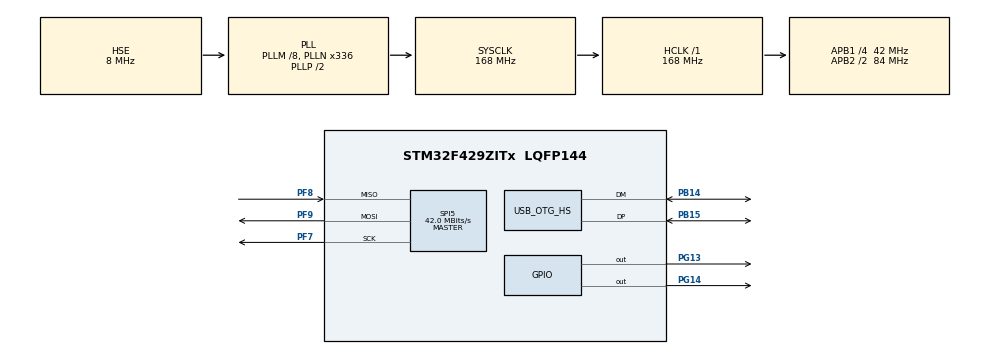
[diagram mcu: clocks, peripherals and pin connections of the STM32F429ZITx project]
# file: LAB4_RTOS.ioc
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FREERTOS.Tasks01=defaultTask,0,128,StartDefaultTask,Default,NULL,Dynamic,NULL,NULL;Task01,0,256,StartTask01,Default,NULL,Dynamic,NULL,NULL;Task02,0,128,StartTask02,Default,NULL,Dynamic,NULL,NULL
Mcu.Family=STM32F4
Mcu.Name=STM32F429ZITx
Mcu.Package=LQFP144
NVIC.OTG_HS_IRQn=true\:5\:0\:false\:false\:true\:true\:true\:true\:true
NVIC.PriorityGroup=NVIC_PRIORITYGROUP_4
NVIC.RCC_IRQn=true\:5\:0\:false\:false\:true\:true\:true\:false\:true
NVIC.SPI5_IRQn=true\:5\:0\:false\:false\:true\:true\:true\:true\:true
NVIC.TIM6_DAC_IRQn=true\:15\:0\:false\:false\:true\:false\:false\:true\:true
NVIC.TimeBase=TIM6_DAC_IRQn
NVIC.TimeBaseIP=TIM6
PA13.Mode=Serial_Wire
PA13.Signal=SYS_JTMS-SWDIO
PA14.Mode=Serial_Wire
PA14.Signal=SYS_JTCK-SWCLK
PB14.Mode=Device_Only_FS
PB14.Signal=USB_OTG_HS_DM
PB15.Mode=Device_Only_FS
PB15.Signal=USB_OTG_HS_DP
PF7.Mode=Full_Duplex_Master
PF7.Signal=SPI5_SCK
PF8.Mode=Full_Duplex_Master
PF8.Signal=SPI5_MISO
PF9.Mode=Full_Duplex_Master
PF9.Signal=SPI5_MOSI
PG13.GPIO_Speed=GPIO_SPEED_FREQ_VERY_HIGH
PG13.Signal=GPIO_Output
PG14.GPIO_Speed=GPIO_SPEED_FREQ_VERY_HIGH
PG14.Signal=GPIO_Output
PH0/OSC_IN.Mode=HSE-External-Oscillator
PH0/OSC_IN.Signal=RCC_OSC_IN
PH1/OSC_OUT.Mode=HSE-External-Oscillator
PH1/OSC_OUT.Signal=RCC_OSC_OUT
ProjectManager.HeapSize=0x2000
ProjectManager.StackSize=0x400
ProjectManager.TargetToolchain=STM32CubeIDE
RCC.48MHZClocksFreq_Value=48000000
RCC.AHBFreq_Value=168000000
RCC.APB1CLKDivider=RCC_HCLK_DIV4
RCC.APB1Freq_Value=42000000
RCC.APB1TimFreq_Value=84000000
RCC.APB2CLKDivider=RCC_HCLK_DIV2
RCC.APB2Freq_Value=84000000
RCC.APB2TimFreq_Value=168000000
RCC.CortexFreq_Value=168000000
RCC.HCLKFreq_Value=168000000
RCC.HSE_VALUE=8000000
RCC.HSI_VALUE=16000000
RCC.LSE_VALUE=32768
RCC.PLLM=8
RCC.PLLN=336
RCC.PLLQ=7
RCC.SYSCLKFreq_VALUE=168000000
RCC.SYSCLKSource=RCC_SYSCLKSOURCE_PLLCLK
RCC.VCOOutputFreq_Value=336000000
SPI5.BaudRatePrescaler=SPI_BAUDRATEPRESCALER_2
SPI5.CalculateBaudRate=42.0 MBits/s
SPI5.Direction=SPI_DIRECTION_2LINES
SPI5.Mode=SPI_MODE_MASTER
SPI5.VirtualType=VM_MASTER
USB_DEVICE.CLASS_NAME_HS=CDC
USB_DEVICE.VirtualMode-CDC_HS=Cdc
USB_DEVICE.VirtualModeHS=Cdc_HS
USB_OTG_HS.VirtualMode-Device_Only_FS=Device_Only_FS
VP_FREERTOS_VS_CMSIS_V1.Mode=CMSIS_V1
VP_SYS_VS_tim6.Mode=TIM6
VP_USB_DEVICE_VS_USB_DEVICE_CDC_HS.Mode=CDC_HS
board=custom

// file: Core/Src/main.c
/* USER CODE BEGIN Header */
/**
  ******************************************************************************
  * @file           : main.c
  * @brief          : Main program body
  ******************************************************************************
  * @attention
  *
  * Copyright (c) 2022 STMicroelectronics.
  * All rights reserved.
  *
  * This software is licensed under terms that can be found in the LICENSE file
  * in the root directory of this software component.
  * If no LICENSE file comes with this software, it is provided AS-IS.
  *
  ******************************************************************************
  */
/* USER CODE END Header */
#include "main.h"
#include "cmsis_os.h"
#include "usb_device.h"

/* USER CODE BEGIN Includes */
#include "stm32f429i_discovery_lcd.h"
#include "stm32f429i_discovery_gyroscope.h"
#include "stm32f429i_discovery_sdram.h"
#include <stdio.h>
#include "string.h"
#include "usbd_cdc_if.h"
/* USER CODE END Includes */

SPI_HandleTypeDef hspi5;

osThreadId Task01Handle;
osThreadId Task02Handle;
/* USER CODE BEGIN PV */
osMailQId(myMailQId);
/* USER CODE END PV */

void SystemClock_Config(void);
static void MX_GPIO_Init(void);
static void MX_SPI5_Init(void);
void StartTask01(void const * argument);
void StartTask02(void const * argument);

/* USER CODE BEGIN 0 */
typedef struct {
	int16_t x;
	int16_t y;
	int16_t z;
} Gyro_Data;
/* USER CODE END 0 */

int main(void)
{

  /* MCU Configuration--------------------------------------------------------*/

  /* Reset of all peripherals, Initializes the Flash interface and the Systick. */
  HAL_Init();

  /* USER CODE BEGIN Init */
  BSP_LCD_Init();
  BSP_SDRAM_Init();
  /* USER CODE END Init */

  /* Configure the system clock */
  SystemClock_Config();

  /* Initialize all configured peripherals */
  MX_GPIO_Init();
  MX_SPI5_Init();
  /* USER CODE BEGIN 2 */
  BSP_LCD_LayerDefaultInit(1, SDRAM_DEVICE_ADDR);
  BSP_LCD_SelectLayer(1);//select on which layer we write
  BSP_LCD_DisplayOn();//turn on LCD
  BSP_LCD_Clear(LCD_COLOR_BLUE);//clear the LCD on blue s
  BSP_LCD_SetBackColor(LCD_COLOR_BLUE);//set text background color
  BSP_LCD_SetTextColor(LCD_COLOR_WHITE);//set text color
  BSP_LCD_SetFont(&Font24);
  BSP_LCD_GetFont();
  /* USER CODE END 2 */

  /* USER CODE BEGIN RTOS_QUEUES */
  /* add queues, ... */
  osMailQDef(myMailQ, 5, Gyro_Data);
  myMailQId = osMailCreate(osMailQ(myMailQ), NULL);
  /* USER CODE END RTOS_QUEUES */

  /* Create the thread(s) */
  /* definition and creation of defaultTask */

  /* definition and creation of Task01 */
  osThreadDef(Task01, StartTask01, osPriorityNormal, 0, 256);
  Task01Handle = osThreadCreate(osThread(Task01), NULL);

  /* definition and creation of Task02 */
  osThreadDef(Task02, StartTask02, osPriorityNormal, 0, 128);
  Task02Handle = osThreadCreate(osThread(Task02), NULL);

  /* Start scheduler */
  osKernelStart();

  /* We should never get here as control is now taken by the scheduler */
  /* Infinite loop */
  while (1)
  {

  }
}

void SystemClock_Config(void)
{
  RCC_OscInitTypeDef RCC_OscInitStruct = {0};
  RCC_ClkInitTypeDef RCC_ClkInitStruct = {0};

  /** Configure the main internal regulator output voltage
  */
  __HAL_RCC_PWR_CLK_ENABLE();
  __HAL_PWR_VOLTAGESCALING_CONFIG(PWR_REGULATOR_VOLTAGE_SCALE1);

  /** Initializes the RCC Oscillators according to the specified parameters
  * in the RCC_OscInitTypeDef structure.
  */
  RCC_OscInitStruct.OscillatorType = RCC_OSCILLATORTYPE_HSE;
  RCC_OscInitStruct.HSEState = RCC_HSE_ON;
  RCC_OscInitStruct.PLL.PLLState = RCC_PLL_ON;
  RCC_OscInitStruct.PLL.PLLSource = RCC_PLLSOURCE_HSE;
  RCC_OscInitStruct.PLL.PLLM = 8;
  RCC_OscInitStruct.PLL.PLLN = 336;
  RCC_OscInitStruct.PLL.PLLP = RCC_PLLP_DIV2;
  RCC_OscInitStruct.PLL.PLLQ = 7;
  if (HAL_RCC_OscConfig(&RCC_OscInitStruct) != HAL_OK)
  {
    Error_Handler();
  }

  /** Initializes the CPU, AHB and APB buses clocks
  */
  RCC_ClkInitStruct.ClockType = RCC_CLOCKTYPE_HCLK|RCC_CLOCKTYPE_SYSCLK
                              |RCC_CLOCKTYPE_PCLK1|RCC_CLOCKTYPE_PCLK2;
  RCC_ClkInitStruct.SYSCLKSource = RCC_SYSCLKSOURCE_PLLCLK;
  RCC_ClkInitStruct.AHBCLKDivider = RCC_SYSCLK_DIV1;
  RCC_ClkInitStruct.APB1CLKDivider = RCC_HCLK_DIV4;
  RCC_ClkInitStruct.APB2CLKDivider = RCC_HCLK_DIV2;

  if (HAL_RCC_ClockConfig(&RCC_ClkInitStruct, FLASH_LATENCY_5) != HAL_OK)
  {
    Error_Handler();
  }
}

static void MX_SPI5_Init(void)
{

  /* SPI5 parameter configuration*/
  hspi5.Instance = SPI5;
  hspi5.Init.Mode = SPI_MODE_MASTER;
  hspi5.Init.Direction = SPI_DIRECTION_2LINES;
  hspi5.Init.DataSize = SPI_DATASIZE_8BIT;
  hspi5.Init.CLKPolarity = SPI_POLARITY_LOW;
  hspi5.Init.CLKPhase = SPI_PHASE_1EDGE;
  hspi5.Init.NSS = SPI_NSS_SOFT;
  hspi5.Init.BaudRatePrescaler = SPI_BAUDRATEPRESCALER_2;
  hspi5.Init.FirstBit = SPI_FIRSTBIT_MSB;
  hspi5.Init.TIMode = SPI_TIMODE_DISABLE;
  hspi5.Init.CRCCalculation = SPI_CRCCALCULATION_DISABLE;
  hspi5.Init.CRCPolynomial = 10;
  if (HAL_SPI_Init(&hspi5) != HAL_OK)
  {
    Error_Handler();
  }

}

static void MX_GPIO_Init(void)
{
  GPIO_InitTypeDef GPIO_InitStruct = {0};

  /* GPIO Ports Clock Enable */
  __HAL_RCC_GPIOF_CLK_ENABLE();
  __HAL_RCC_GPIOH_CLK_ENABLE();
  __HAL_RCC_GPIOB_CLK_ENABLE();
  __HAL_RCC_GPIOA_CLK_ENABLE();
  __HAL_RCC_GPIOG_CLK_ENABLE();

  /*Configure GPIO pin Output Level */
  HAL_GPIO_WritePin(GPIOG, GPIO_PIN_13|GPIO_PIN_14, GPIO_PIN_RESET);

  /*Configure GPIO pins : PG13 PG14 */
  GPIO_InitStruct.Pin = GPIO_PIN_13|GPIO_PIN_14;
  GPIO_InitStruct.Mode = GPIO_MODE_OUTPUT_PP;
  GPIO_InitStruct.Pull = GPIO_NOPULL;
  GPIO_InitStruct.Speed = GPIO_SPEED_FREQ_VERY_HIGH;
  HAL_GPIO_Init(GPIOG, &GPIO_InitStruct);

}

/* USER CODE BEGIN Header_StartDefaultTask */

void StartTask01(void const * argument)
{
  /* USER CODE BEGIN StartTask01 */
  /* Infinite loop */
  MX_USB_DEVICE_Init();
  uint8_t *pBuff;
  osSignalWait(0x1, osWaitForever);
  osSignalSet(Task02Handle, 0x1);
  for (;;) {
	  osEvent event = osMailGet(myMailQId, osWaitForever);
	  Gyro_Data *data = event.value.p;
	  sprintf((char *) pBuff, "x: %d, y: %d; z: %d\n", data->x, data->y, data->z);
	  osMailFree(myMailQId, data);
	  CDC_Transmit_HS((uint8_t *) pBuff, strlen((const char *)pBuff));
	  osDelay(1000);
  }
  /* USER CODE END StartTask01 */
}

void StartTask02(void const * argument)
{
  /* USER CODE BEGIN StartTask02 */
  /* Infinite loop */
  BSP_GYRO_Init();
  Point UpArr [] = {{120, 0}, {110, 10}, {130, 10}};
  Point DownArr [] = {{120, 320}, {110, 310}, {130, 310}};
  Point LeftArr [] = {{0, 160}, {10, 150}, {10, 170}};
  Point RightArr [] = {{240, 160}, {230, 150}, {230, 170}};
  Gyro_Data data;
  osSignalWait(0x1, osWaitForever);
  for (;;) {
	  BSP_GYRO_GetXYZ((int16_t *) &data);
	  Gyro_Data *data_tx;
	   while (NULL == data_tx) {
		   data_tx = (Gyro_Data *) osMailAlloc(myMailQId, osWaitForever);
	   }
	  	 data_tx->x = data.x;
	  	 data_tx->y = data.y;
	  	 data_tx->z = data.z;
	  	 osMailPut(myMailQId, data_tx);

	  	 //hien thi huong
	  	if (data_tx->x > 0) {
	  			  BSP_LCD_FillPolygon(DownArr, 3);
	  	}
	  	if (data_tx->x < 0) {
	  			  BSP_LCD_FillPolygon(UpArr, 3);
	  	}
	  	if (data_tx->y > 0) {
	  		  		BSP_LCD_FillPolygon(RightArr, 3);
	  	}

	  	if (data_tx->y < 0) {
	  		  	  	BSP_LCD_FillPolygon(LeftArr, 3);
	  	}
  }

  /* USER CODE END StartTask02 */
}

void HAL_TIM_PeriodElapsedCallback(TIM_HandleTypeDef *htim)
{
  if (htim->Instance == TIM6) {
    HAL_IncTick();
  }
}

void Error_Handler(void)
{
  __disable_irq();
  while (1)
  {
  }
}
